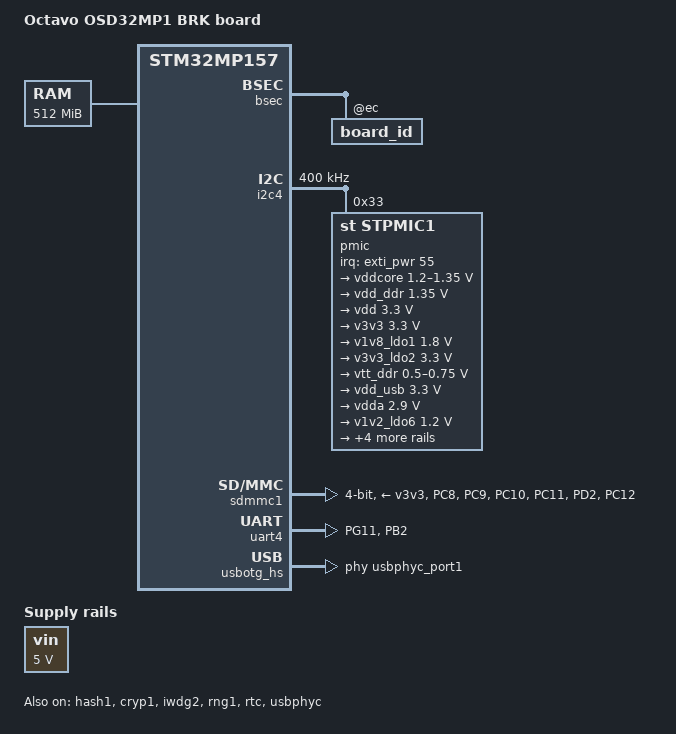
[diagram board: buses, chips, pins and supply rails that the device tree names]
/* SPDX-License-Identifier: (GPL-2.0+ OR BSD-3-Clause) */
/*
 * Copyright (C) STMicroelectronics 2020 - All Rights Reserved
 * Author: STM32CubeMX code generation for STMicroelectronics.
 */

/dts-v1/;
#include <dt-bindings/pinctrl/stm32-pinfunc.h>
#include <dt-bindings/clock/stm32mp1-clksrc.h>
#include <dt-bindings/soc/st,stm32-etzpc.h>
#include <dt-bindings/power/stm32mp1-power.h>

#include "stm32mp157.dtsi"
#include "stm32mp15xc.dtsi"
#include "stm32mp15xxac-pinctrl.dtsi"
#include "osd32mp1_ddr_1x4Gb.dtsi"

/ {
	model = "Octavo OSD32MP1 BRK board";
	compatible = "st,stm32mp157c-osd32mp1-brk", "st,stm32mp157";

	aliases {
		serial0 = &uart4;
	};

	memory@c0000000 {
		device_type = "memory";
		reg = <0xc0000000 0x20000000>;
	};

	vin: vin {
		compatible = "regulator-fixed";
		regulator-name = "vin";
		regulator-min-microvolt = <5000000>;
		regulator-max-microvolt = <5000000>;
		regulator-always-on;
	};

	chosen {
		stdout-path = "serial0:115200n8";
	};
};

&bsec {
	board_id: board_id@ec {
		reg = <0xec 0x4>;
		st,non-secure-otp;
	};
};

&clk_hse {
	st,digbypass;
};

&cpu0 {
	cpu-supply = <&vddcore>;
};

&cpu1 {
	cpu-supply = <&vddcore>;
};

&hash1 {
	status = "okay";
};

&cryp1 {
	status = "okay";
};

&etzpc {
	st,decprot = <
		DECPROT(STM32MP1_ETZPC_USART1_ID, DECPROT_NS_RW, DECPROT_UNLOCK)
		DECPROT(STM32MP1_ETZPC_SPI6_ID, DECPROT_NS_RW, DECPROT_UNLOCK)
		DECPROT(STM32MP1_ETZPC_I2C4_ID, DECPROT_NS_RW, DECPROT_UNLOCK)
		DECPROT(STM32MP1_ETZPC_I2C6_ID, DECPROT_NS_RW, DECPROT_UNLOCK)
		DECPROT(STM32MP1_ETZPC_RNG1_ID, DECPROT_NS_RW, DECPROT_UNLOCK)
		DECPROT(STM32MP1_ETZPC_HASH1_ID, DECPROT_NS_RW, DECPROT_UNLOCK)
		DECPROT(STM32MP1_ETZPC_CRYP1_ID, DECPROT_NS_RW, DECPROT_UNLOCK)
		DECPROT(STM32MP1_ETZPC_DDRCTRL_ID, DECPROT_NS_R_S_W, DECPROT_LOCK)
		DECPROT(STM32MP1_ETZPC_DDRPHYC_ID, DECPROT_NS_R_S_W, DECPROT_LOCK)
		DECPROT(STM32MP1_ETZPC_STGENC_ID, DECPROT_S_RW, DECPROT_LOCK)
		DECPROT(STM32MP1_ETZPC_BKPSRAM_ID, DECPROT_S_RW, DECPROT_LOCK)
		DECPROT(STM32MP1_ETZPC_IWDG1_ID, DECPROT_S_RW, DECPROT_LOCK)
	>;
};



&i2c4 {
	pinctrl-names = "default";
	pinctrl-0 = <&i2c4_pins_z_mx>;
	i2c-scl-rising-time-ns = <185>;
	i2c-scl-falling-time-ns = <20>;
	clock-frequency = <400000>;
	status = "okay";
	secure-status = "okay";

	pmic: stpmic@33 {
		compatible = "st,stpmic1";
		reg = <0x33>;
		interrupts-extended = <&exti_pwr 55 IRQ_TYPE_EDGE_FALLING>;
		interrupt-controller;
		#interrupt-cells = <2>;
		status = "okay";
		secure-status = "okay";

		regulators {
			compatible = "st,stpmic1-regulators";
			buck1-supply = <&vin>;
			buck2-supply = <&vin>;
			buck3-supply = <&vin>;
			buck4-supply = <&vin>;
			ldo1-supply = <&v3v3>;
			ldo2-supply = <&vin>;
			ldo3-supply = <&vdd_ddr>;
			ldo4-supply = <&vin>;
			ldo5-supply = <&vin>;
			ldo6-supply = <&v3v3>;
			vref_ddr-supply = <&vin>;
			boost-supply = <&vin>;
			pwr_sw1-supply = <&bst_out>;
			pwr_sw2-supply = <&bst_out>;

			vddcore: buck1 {
				regulator-name = "vddcore";
				regulator-min-microvolt = <1200000>;
				regulator-max-microvolt = <1350000>;
				regulator-always-on;
				regulator-initial-mode = <0>;
				regulator-over-current-protection;
				lp-stop{
					regulator-on-in-suspend;
					regulator-suspend-microvolt = <1200000>;
				};
				standby-ddr-sr{
					regulator-off-in-suspend;
				};
				standby-ddr-off{
					regulator-off-in-suspend;
				};
			};

			vdd_ddr: buck2 {
				regulator-name = "vdd_ddr";
				regulator-min-microvolt = <1350000>;
				regulator-max-microvolt = <1350000>;
				regulator-always-on;
				regulator-initial-mode = <0>;
				regulator-over-current-protection;
				lp-stop{
					regulator-suspend-microvolt = <1350000>;
					regulator-on-in-suspend;
				};
				standby-ddr-sr{
					regulator-suspend-microvolt = <1350000>;
					regulator-on-in-suspend;
				};
				standby-ddr-off{
					regulator-off-in-suspend;
				};
			};

			vdd: buck3 {
				regulator-name = "vdd";
				regulator-min-microvolt = <3300000>;
				regulator-max-microvolt = <3300000>;
				regulator-always-on;
				st,mask-reset;
				regulator-initial-mode = <0>;
				regulator-over-current-protection;
				lp-stop{
					regulator-suspend-microvolt = <3300000>;
					regulator-on-in-suspend;
				};
				standby-ddr-sr{
					regulator-suspend-microvolt = <3300000>;
					regulator-on-in-suspend;
				};
				standby-ddr-off{
					regulator-suspend-microvolt = <3300000>;
					regulator-on-in-suspend;
				};
			};

			v3v3: buck4 {
				regulator-name = "v3v3";
				regulator-min-microvolt = <3300000>;
				regulator-max-microvolt = <3300000>;
				regulator-always-on;
				regulator-over-current-protection;
				regulator-initial-mode = <0>;
				lp-stop{
					regulator-suspend-microvolt = <3300000>;
					regulator-on-in-suspend;
				};
				standby-ddr-sr{
					regulator-off-in-suspend;
				};
				standby-ddr-off{
					regulator-off-in-suspend;
				};
			};

			v1v8_ldo1: ldo1 {
				regulator-name = "v1v8_audio";
				regulator-min-microvolt = <1800000>;
				regulator-max-microvolt = <1800000>;
				regulator-always-on;
				standby-ddr-sr{
					regulator-off-in-suspend;
				};
				standby-ddr-off{
					regulator-off-in-suspend;
				};
			};

			v3v3_ldo2: ldo2 {
				regulator-name = "v3v3_hdmi";
				regulator-min-microvolt = <3300000>;
				regulator-max-microvolt = <3300000>;
				regulator-always-on;
				standby-ddr-sr{
					regulator-off-in-suspend;
				};
				standby-ddr-off{
					regulator-off-in-suspend;
				};
			};

			vtt_ddr: ldo3 {
				regulator-name = "vtt_ddr";
				regulator-min-microvolt = <500000>;
				regulator-max-microvolt = <750000>;
				regulator-always-on;
				regulator-over-current-protection;
				lp-stop{
					regulator-off-in-suspend;
				};
				standby-ddr-sr{
					regulator-off-in-suspend;
				};
				standby-ddr-off{
					regulator-off-in-suspend;
				};
			};

			vdd_usb: ldo4 {
				regulator-name = "vdd_usb";
				regulator-min-microvolt = <3300000>;
				regulator-max-microvolt = <3300000>;
				regulator-always-on;
				standby-ddr-sr{
					regulator-on-in-suspend;
				};
				standby-ddr-off{
					regulator-off-in-suspend;
				};
			};

			vdda: ldo5 {
				regulator-name = "vdda";
				regulator-min-microvolt = <2900000>;
				regulator-max-microvolt = <2900000>;
				regulator-boot-on;
				standby-ddr-sr{
					regulator-off-in-suspend;
				};
				standby-ddr-off{
					regulator-off-in-suspend;
				};
			};

			v1v2_ldo6: ldo6 {
				regulator-name = "v1v2_ldo6";
				regulator-min-microvolt = <1200000>;
				regulator-max-microvolt = <1200000>;
				regulator-always-on;
				standby-ddr-sr{
					regulator-off-in-suspend;
				};
				standby-ddr-off{
					regulator-off-in-suspend;
				};
			};

			vref_ddr: vref_ddr {
				regulator-name = "vref_ddr";
				regulator-always-on;
				regulator-over-current-protection;
				lp-stop{
					regulator-on-in-suspend;
				};
				standby-ddr-sr{
					regulator-on-in-suspend;
				};
				standby-ddr-off{
					regulator-off-in-suspend;
				};
			};

			bst_out: boost {
				regulator-name = "bst_out";
			};

			vbus_otg: pwr_sw1 {
				regulator-name = "vbus_otg";
			};

			vbus_sw: pwr_sw2 {
				regulator-name = "vbus_sw";
				regulator-active-discharge = <1>;
			};
		};
	};
};

&iwdg2 {
	timeout-sec = <32>;
	secure-timeout-sec = <5>;
	status = "okay";
	secure-status = "okay";
};

&nvmem_layout {
	nvmem-cells = <&cfg0_otp>,
		      <&part_number_otp>,
		      <&monotonic_otp>,
		      <&nand_otp>,
		      <&uid_otp>,
		      <&package_otp>,
		      <&hw2_otp>,
		      <&pkh_otp>,
		      <&board_id>;

	nvmem-cell-names = "cfg0_otp",
			   "part_number_otp",
			   "monotonic_otp",
			   "nand_otp",
			   "uid_otp",
			   "package_otp",
			   "hw2_otp",
			   "pkh_otp",
			   "board_id";
};

&pwr_regulators {
	system_suspend_supported_soc_modes = <
		STM32_PM_CSLEEP_RUN
		STM32_PM_CSTOP_ALLOW_LP_STOP
		STM32_PM_CSTOP_ALLOW_STANDBY_DDR_SR
	>;
	system_off_soc_mode = <STM32_PM_CSTOP_ALLOW_STANDBY_DDR_OFF>;
	vdd-supply = <&vdd>;
	vdd_3v3_usbfs-supply = <&vdd_usb>;
};

&rcc {
	st,hsi-cal;
	st,csi-cal;
	st,cal-sec = <60>;
	st,clksrc = <
		CLK_MPU_PLL1P
		CLK_AXI_PLL2P
		CLK_MCU_PLL3P
		CLK_PLL12_HSE
		CLK_PLL3_HSE
		CLK_PLL4_HSE
		CLK_RTC_LSE
		CLK_MCO1_DISABLED
		CLK_MCO2_DISABLED
	>;

	st,clkdiv = <
		1 /*MPU*/
		0 /*AXI*/
		0 /*MCU*/
		1 /*APB1*/
		1 /*APB2*/
		1 /*APB3*/
		1 /*APB4*/
		2 /*APB5*/
		23 /*RTC*/
		0 /*MCO1*/
		0 /*MCO2*/
	>;

	st,pkcs = <
		CLK_CKPER_HSE
		CLK_FMC_ACLK
		CLK_QSPI_ACLK
		CLK_ETH_DISABLED
		CLK_SDMMC12_PLL4P
		CLK_DSI_DSIPLL
		CLK_STGEN_HSE
		CLK_USBPHY_HSE
		CLK_SPI2S1_PLL3Q
		CLK_SPI2S23_PLL3Q
		CLK_SPI45_HSI
		CLK_SPI6_HSI
		CLK_I2C46_HSI
		CLK_SDMMC3_PLL4P
		CLK_USBO_USBPHY
		CLK_ADC_CKPER
		CLK_CEC_LSE
		CLK_I2C12_HSI
		CLK_I2C35_HSI
		CLK_UART1_HSI
		CLK_UART24_HSI
		CLK_UART35_HSI
		CLK_UART6_HSI
		CLK_UART78_HSI
		CLK_SPDIF_PLL4P
		CLK_FDCAN_PLL4R
		CLK_SAI1_PLL3Q
		CLK_SAI2_PLL3Q
		CLK_SAI3_PLL3Q
		CLK_SAI4_PLL3Q
		CLK_RNG1_LSI
		CLK_RNG2_LSI
		CLK_LPTIM1_PCLK1
		CLK_LPTIM23_PCLK3
		CLK_LPTIM45_LSE
	>;

	/* VCO = 1066.0 MHz => P = 266 (AXI), Q = 533 (GPU), R = 533 (DDR) */
	pll2: st,pll@1 {
		compatible = "st,stm32mp1-pll";
		reg = <1>;
		cfg = <2 65 1 0 0 PQR(1,1,1)>;
		frac = <0x1400>;
	};

	/* VCO = 417.8 MHz => P = 209, Q = 24, R = 11 */
	pll3: st,pll@2 {
		compatible = "st,stm32mp1-pll";
		reg = <2>;
		cfg = <1 33 1 16 36 PQR(1,1,1)>;
		frac = <0x1a04>;
	};

	/* VCO = 594.0 MHz => P = 99, Q = 74, R = 74 */
	pll4: st,pll@3 {
		compatible = "st,stm32mp1-pll";
		reg = <3>;
		cfg = <3 98 5 7 7 PQR(1,1,1)>;
	};
};

&rng1 {
	status = "okay";
	secure-status = "okay";
};

&rtc {
	status = "okay";
	secure-status = "okay";
};

&sdmmc1 {
	pinctrl-names = "default";
	pinctrl-0 = <&sdmmc1_pins_mx>;
	disable-wp;
	st,neg-edge;
	bus-width = <4>;
	vmmc-supply = <&v3v3>;
	status = "okay";
};

&timers15 {
	secure-status = "okay";
	st,hsi-cal-input = <7>;
	st,csi-cal-input = <8>;
};
&uart4 {
	pinctrl-names = "default";
	pinctrl-0 = <&uart4_pins_mx>;
	status = "okay";
};

&usbotg_hs {
	phys = <&usbphyc_port1 0>;
	phy-names = "usb2-phy";
	usb-role-switch;
	status = "okay";
};

&usbphyc {
	status = "okay";
};

&usbphyc_port0 {
	phy-supply = <&vdd_usb>;
};

&usbphyc_port1 {
	phy-supply = <&vdd_usb>;
};




&pinctrl {
	sdmmc1_pins_mx: sdmmc1-b4-0 {
		pins1 {
			pinmux = <STM32_PINMUX('C', 8, AF12)>, /* SDMMC1_D0 */
				 <STM32_PINMUX('C', 9, AF12)>, /* SDMMC1_D1 */
				 <STM32_PINMUX('C', 10, AF12)>, /* SDMMC1_D2 */
				 <STM32_PINMUX('C', 11, AF12)>, /* SDMMC1_D3 */
				 <STM32_PINMUX('D', 2, AF12)>; /* SDMMC1_CMD */
			slew-rate = <1>;
			drive-push-pull;
			bias-disable;
		};
		pins2 {
			pinmux = <STM32_PINMUX('C', 12, AF12)>; /* SDMMC1_CK */
			slew-rate = <2>;
			drive-push-pull;
			bias-disable;
		};
	};

	uart4_pins_mx: uart4-0 {
		pins1 {
			pinmux = <STM32_PINMUX('G', 11, AF6)>; /* UART4_TX */
			bias-disable;
			drive-push-pull;
			slew-rate = <0>;
		};
		pins2 {
			pinmux = <STM32_PINMUX('B', 2, AF8)>; /* UART4_RX */
			bias-disable;
		};
	};
};

&pinctrl_z {
	i2c4_pins_z_mx: i2c4-0 {
		pins {
			pinmux = <STM32_PINMUX('Z', 4, AF6)>, /* I2C4_SCL */
				 <STM32_PINMUX('Z', 5, AF6)>; /* I2C4_SDA */
			bias-disable;
			drive-open-drain;
			slew-rate = <0>;
		};
	};
};
